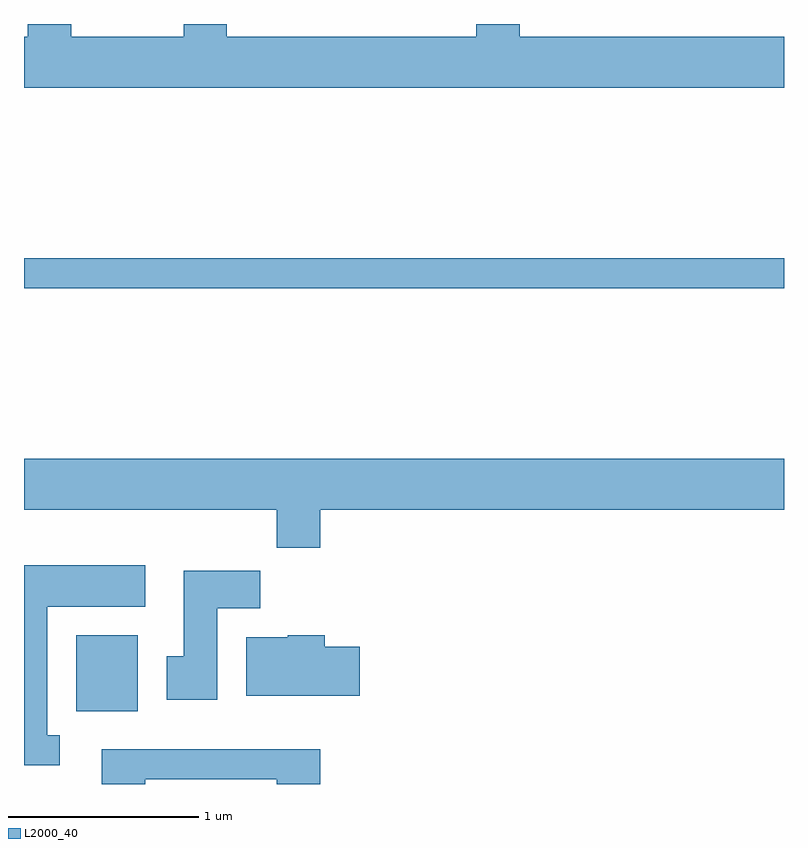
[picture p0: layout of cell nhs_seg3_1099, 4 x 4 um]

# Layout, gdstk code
import gdstk
lib = gdstk.Library(unit=1e-6, precision=1e-09)
def R(c, l, rs):  # rectangles x0, y0, x1, y1
    for r in rs: c.add(gdstk.rectangle(r[:2], r[2:], *l))
def P(c, l, *ps):  # polygons
    for p in ps: c.add(gdstk.Polygon(p, *l))
L2000_40 = (2000, 40)

nhs_seg3_1099 = lib.new_cell('nhs_seg3_1099')
R(nhs_seg3_1099, L2000_40, [(217.886,1138.276,218.209,1138.674), (217.611,1140.501,221.611,1140.659)])
P(nhs_seg3_1099, L2000_40, [(221.611,1141.824),(220.219,1141.824),(220.219,1141.892),(219.991,1141.892),(219.991,1141.824),(218.679,1141.824),(218.679,1141.892),(218.451,1141.892),(218.451,1141.824),(217.859,1141.824),(217.859,1141.892),(217.631,1141.892),(217.631,1141.824),(217.611,1141.824),(217.611,1141.556),(221.611,1141.556)],
  [(219.169,1139.336),(221.611,1139.336),(221.611,1139.604),(217.611,1139.604),(217.611,1139.336),(218.941,1139.336),(218.941,1139.136),(219.169,1139.136)],
  [(217.798,1138.149),(217.734,1138.149),(217.734,1138.826),(218.249,1138.826),(218.249,1139.044),(217.611,1139.044),(217.611,1137.991),(217.798,1137.991)],
  [(218.629,1138.816),(218.854,1138.816),(218.854,1139.014),(218.451,1139.014),(218.451,1138.564),(218.361,1138.564),(218.361,1138.336),(218.629,1138.336)],
  [(219.379,1138.614),(219.194,1138.614),(219.194,1138.674),(219,1138.674),(219,1138.664),(218.781,1138.664),(218.781,1138.356),(219.379,1138.356)],
  [(218.249,1137.916),(218.941,1137.916),(218.941,1137.892),(219.169,1137.892),(219.169,1138.074),(218.021,1138.074),(218.021,1137.892),(218.249,1137.892)])

lib.write_gds('nhs_seg3_1099.gds')
